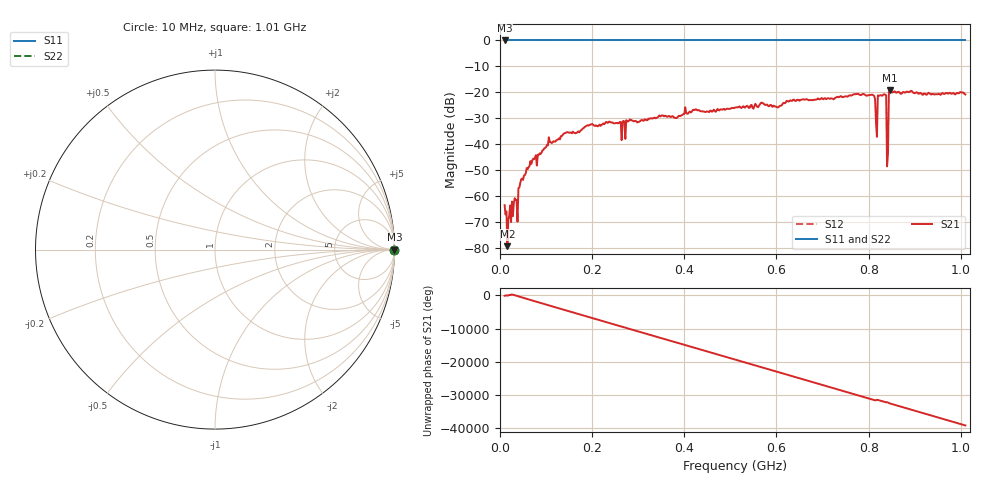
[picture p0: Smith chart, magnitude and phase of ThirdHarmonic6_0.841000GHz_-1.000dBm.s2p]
! 8/16/2025 3:53:06 AM
! C:\ANRITSUVNA\TEMP\TEMP.S2P
! CHANNEL.1
! TR.MEASUREMENT
! RAW.DATA
! RF.CORRECTION.OFF
! AVERAGING.OFF
! IF.BANDWIDTH: 5KHZ
! SWEEPTYPE:  FREQ.SWEEP(Linear)
! Reference Plane Port Info
! PORT:  PORT1  PORT2
! DISTANCE:  0  m  0  m
! TIME:  0  s  0  s
! PHASE.OFFSET:  0  deg.  0  deg.
! LOSS:  0  dB  0  dB
! REF.LOSS:  0  dB  0  dB
! REF.FREQ:  0  Hz  0  Hz
! Power Info
! POWER:  -20  dBm  -20  dBm
! EFF.POWER:  -20  dBm  -20  dBm
! SOURCE.ATTEN:  0  dB  0  dB
! TEST.ATTEN:  0  dB  0  dB
# GHZ S RI R 50.0
! FREQ.GHZ  S11RE  S11IM  S21RE  S21IM  S12RE  S12IM  S22RE  S22IM
!; PortSelection: Port_12
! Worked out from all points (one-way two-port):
!   501 points, 10 MHz to 1.01 GHz, reference 50 ohm
!   highest |S21| = -19.12 dB at 846 MHz (marker M1); lowest = -79.3 dB at 16 MHz (marker M2)
!   lowest |S11| = 0.0 dB at 10 MHz (marker M3)
!   |S11| at or under -10 dB: nowhere
!   |S22| runs from 0.0 to 0.0 dB; largest |S21 - S12| = 1.1
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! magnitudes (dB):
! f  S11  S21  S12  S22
! 10 MHz  0.0  -63.5  0.0  0.0
! 16 MHz  0.0  -79.3  0.0  0.0
! 38 MHz  0.0  -69.8  0.0  0.0
! 44 MHz  0.0  -54.9  0.0  0.0
! 74 MHz  0.0  -45.8  0.0  0.0
! 106 MHz  0.0  -37.3  0.0  0.0
! 178 MHz  0.0  -34.3  0.0  0.0
! 234 MHz  0.0  -31.8  0.0  0.0
! 268 MHz  0.0  -31.0  0.0  0.0
! 278 MHz  0.0  -31.2  0.0  0.0
! 344 MHz  0.0  -29.3  0.0  0.0
! 510 MHz  0.0  -25.8  0.0  0.0
! 678 MHz  0.0  -23.0  0.0  0.0
! 806 MHz  0.0  -20.9  0.0  0.0
! 818 MHz  0.0  -37.1  0.0  0.0
! 824 MHz  0.0  -21.2  0.0  0.0
! 834 MHz  0.0  -20.7  0.0  0.0
! 838 MHz  0.0  -21.1  0.0  0.0
! 844 MHz  0.0  -19.9  0.0  0.0
! 846 MHz  0.0  -19.1  0.0  0.0
! 848 MHz  0.0  -19.4  0.0  0.0
! 1.01 GHz  0.0  -20.8  0.0  0.0
